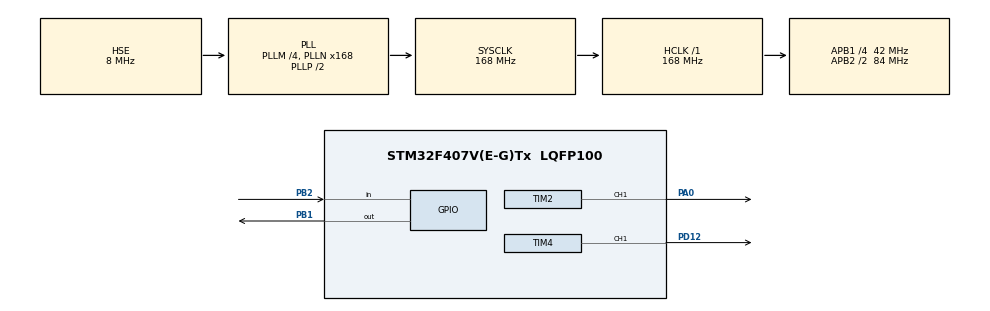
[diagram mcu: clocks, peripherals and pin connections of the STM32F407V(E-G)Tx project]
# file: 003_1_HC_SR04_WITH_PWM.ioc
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Mcu.Family=STM32F4
Mcu.Name=STM32F407V(E-G)Tx
Mcu.Package=LQFP100
NVIC.PriorityGroup=NVIC_PRIORITYGROUP_4
PA0-WKUP.Signal=S_TIM2_CH1_ETR
PB1.GPIO_Speed=GPIO_SPEED_FREQ_MEDIUM
PB1.Signal=GPIO_Output
PB2.GPIO_PuPd=GPIO_PULLDOWN
PB2.Signal=GPIO_Input
PD12.Signal=S_TIM4_CH1
PH0-OSC_IN.Mode=HSE-External-Oscillator
PH0-OSC_IN.Signal=RCC_OSC_IN
PH1-OSC_OUT.Mode=HSE-External-Oscillator
PH1-OSC_OUT.Signal=RCC_OSC_OUT
ProjectManager.HeapSize=0x200
ProjectManager.StackSize=0x400
ProjectManager.TargetToolchain=STM32CubeIDE
RCC.48MHZClocksFreq_Value=84000000
RCC.AHBFreq_Value=168000000
RCC.APB1CLKDivider=RCC_HCLK_DIV4
RCC.APB1Freq_Value=42000000
RCC.APB1TimFreq_Value=84000000
RCC.APB2CLKDivider=RCC_HCLK_DIV2
RCC.APB2Freq_Value=84000000
RCC.APB2TimFreq_Value=168000000
RCC.CortexFreq_Value=168000000
RCC.HCLKFreq_Value=168000000
RCC.HSE_VALUE=8000000
RCC.HSI_VALUE=16000000
RCC.LSE_VALUE=32768
RCC.PLLM=4
RCC.PLLN=168
RCC.PLLSourceVirtual=RCC_PLLSOURCE_HSE
RCC.SYSCLKFreq_VALUE=168000000
RCC.SYSCLKSource=RCC_SYSCLKSOURCE_PLLCLK
RCC.VCOOutputFreq_Value=336000000
SH.S_TIM2_CH1_ETR.0=TIM2_CH1,PWM Generation1 CH1
SH.S_TIM4_CH1.0=TIM4_CH1,PWM Generation1 CH1
TIM1.Period=65535
TIM1.Prescaler=167
TIM2.Channel-PWM\ Generation1\ CH1=TIM_CHANNEL_1
TIM2.Period=999
TIM2.Prescaler=41999
TIM4.Channel-PWM\ Generation1\ CH1=TIM_CHANNEL_1
TIM4.Period=999
TIM4.Prescaler=41999
VP_TIM1_VS_ClockSourceINT.Mode=Internal
VP_TIM2_VS_ClockSourceINT.Mode=Internal
VP_TIM4_VS_ClockSourceINT.Mode=Internal
board=custom

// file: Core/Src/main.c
/* USER CODE BEGIN Header */
/**
  ******************************************************************************
  * @file           : main.c
  * @brief          : Main program body
  ******************************************************************************
  * @attention
  *
  * <h2><center>&copy; Copyright (c) 2022 STMicroelectronics.
  * All rights reserved.</center></h2>
  *
  * This software component is licensed by ST under BSD 3-Clause license,
  * the "License"; You may not use this file except in compliance with the
  * License. You may obtain a copy of the License at:
  *                        opensource.org/licenses/BSD-3-Clause
  *
  ******************************************************************************
  */
/* USER CODE END Header */
#include "main.h"

TIM_HandleTypeDef htim1;
TIM_HandleTypeDef htim2;
TIM_HandleTypeDef htim4;

/* USER CODE BEGIN PV */
uint16_t distance;
uint32_t period;
uint32_t dutyTIM4;

/* USER CODE END PV */

void SystemClock_Config(void);
static void MX_GPIO_Init(void);
static void MX_TIM1_Init(void);
static void MX_TIM2_Init(void);
static void MX_TIM4_Init(void);
/* USER CODE BEGIN PFP */

void usDelay(uint32_t uS);
uint16_t readHCSR04();
void buzzer(uint32_t duty);
void PWM_period(uint32_t ARR);

/* USER CODE END PFP */

int main(void)
{

  /* MCU Configuration--------------------------------------------------------*/

  /* Reset of all peripherals, Initializes the Flash interface and the Systick. */
  HAL_Init();

  /* Configure the system clock */
  SystemClock_Config();

  /* Initialize all configured peripherals */
  MX_GPIO_Init();
  MX_TIM1_Init();
  MX_TIM2_Init();
  MX_TIM4_Init();
  /* USER CODE BEGIN 2 */
  HAL_TIM_Base_Start(&htim1);
	HAL_TIM_PWM_Start(&htim4, TIM_CHANNEL_1);
  /* USER CODE END 2 */

  /* Infinite loop */
  while (1)
  {

    /* USER CODE BEGIN 3 */
	  distance = readHCSR04();
	  if(distance < 100 && distance > 80)
	  {
		  PWM_period(1000);
		  buzzer(1000/2);
	  }
	  else if(distance <= 80 && distance > 60)
	  {
		  PWM_period(800);
		  buzzer(800/2);
	  }
	  else if(distance <= 60 && distance > 40)
	  {
		  PWM_period(600);
		  buzzer(600/2);
	  }
	  else if(distance <= 40 && distance > 20)
	  {
		  PWM_period(400);
		  buzzer(400/2);
	  }
	  else if(distance <= 20 && distance > 10)
	  {
		  PWM_period(200);
		  buzzer(200/2);
	  }
	  else if(distance <= 10)
	  {
		  PWM_period(100);
		  buzzer(100/2);
	  }
	  else
	  {
		  PWM_period(1999);
		  buzzer(1999/2);
	  }

  }
  /* USER CODE END 3 */
}

void SystemClock_Config(void)
{
  RCC_OscInitTypeDef RCC_OscInitStruct = {0};
  RCC_ClkInitTypeDef RCC_ClkInitStruct = {0};

  /** Configure the main internal regulator output voltage
  */
  __HAL_RCC_PWR_CLK_ENABLE();
  __HAL_PWR_VOLTAGESCALING_CONFIG(PWR_REGULATOR_VOLTAGE_SCALE1);
  /** Initializes the RCC Oscillators according to the specified parameters
  * in the RCC_OscInitTypeDef structure.
  */
  RCC_OscInitStruct.OscillatorType = RCC_OSCILLATORTYPE_HSE;
  RCC_OscInitStruct.HSEState = RCC_HSE_ON;
  RCC_OscInitStruct.PLL.PLLState = RCC_PLL_ON;
  RCC_OscInitStruct.PLL.PLLSource = RCC_PLLSOURCE_HSE;
  RCC_OscInitStruct.PLL.PLLM = 4;
  RCC_OscInitStruct.PLL.PLLN = 168;
  RCC_OscInitStruct.PLL.PLLP = RCC_PLLP_DIV2;
  RCC_OscInitStruct.PLL.PLLQ = 4;
  if (HAL_RCC_OscConfig(&RCC_OscInitStruct) != HAL_OK)
  {
    Error_Handler();
  }
  /** Initializes the CPU, AHB and APB buses clocks
  */
  RCC_ClkInitStruct.ClockType = RCC_CLOCKTYPE_HCLK|RCC_CLOCKTYPE_SYSCLK
                              |RCC_CLOCKTYPE_PCLK1|RCC_CLOCKTYPE_PCLK2;
  RCC_ClkInitStruct.SYSCLKSource = RCC_SYSCLKSOURCE_PLLCLK;
  RCC_ClkInitStruct.AHBCLKDivider = RCC_SYSCLK_DIV1;
  RCC_ClkInitStruct.APB1CLKDivider = RCC_HCLK_DIV4;
  RCC_ClkInitStruct.APB2CLKDivider = RCC_HCLK_DIV2;

  if (HAL_RCC_ClockConfig(&RCC_ClkInitStruct, FLASH_LATENCY_5) != HAL_OK)
  {
    Error_Handler();
  }
}

static void MX_TIM1_Init(void)
{

  TIM_ClockConfigTypeDef sClockSourceConfig = {0};
  TIM_MasterConfigTypeDef sMasterConfig = {0};

  htim1.Instance = TIM1;
  htim1.Init.Prescaler = 167;
  htim1.Init.CounterMode = TIM_COUNTERMODE_UP;
  htim1.Init.Period = 65535;
  htim1.Init.ClockDivision = TIM_CLOCKDIVISION_DIV1;
  htim1.Init.RepetitionCounter = 0;
  htim1.Init.AutoReloadPreload = TIM_AUTORELOAD_PRELOAD_DISABLE;
  if (HAL_TIM_Base_Init(&htim1) != HAL_OK)
  {
    Error_Handler();
  }
  sClockSourceConfig.ClockSource = TIM_CLOCKSOURCE_INTERNAL;
  if (HAL_TIM_ConfigClockSource(&htim1, &sClockSourceConfig) != HAL_OK)
  {
    Error_Handler();
  }
  sMasterConfig.MasterOutputTrigger = TIM_TRGO_RESET;
  sMasterConfig.MasterSlaveMode = TIM_MASTERSLAVEMODE_DISABLE;
  if (HAL_TIMEx_MasterConfigSynchronization(&htim1, &sMasterConfig) != HAL_OK)
  {
    Error_Handler();
  }

}

static void MX_TIM2_Init(void)
{

  TIM_ClockConfigTypeDef sClockSourceConfig = {0};
  TIM_MasterConfigTypeDef sMasterConfig = {0};
  TIM_OC_InitTypeDef sConfigOC = {0};

  htim2.Instance = TIM2;
  htim2.Init.Prescaler = 41999;
  htim2.Init.CounterMode = TIM_COUNTERMODE_UP;
  htim2.Init.Period = 999;
  htim2.Init.ClockDivision = TIM_CLOCKDIVISION_DIV1;
  htim2.Init.AutoReloadPreload = TIM_AUTORELOAD_PRELOAD_DISABLE;
  if (HAL_TIM_Base_Init(&htim2) != HAL_OK)
  {
    Error_Handler();
  }
  sClockSourceConfig.ClockSource = TIM_CLOCKSOURCE_INTERNAL;
  if (HAL_TIM_ConfigClockSource(&htim2, &sClockSourceConfig) != HAL_OK)
  {
    Error_Handler();
  }
  if (HAL_TIM_PWM_Init(&htim2) != HAL_OK)
  {
    Error_Handler();
  }
  sMasterConfig.MasterOutputTrigger = TIM_TRGO_RESET;
  sMasterConfig.MasterSlaveMode = TIM_MASTERSLAVEMODE_DISABLE;
  if (HAL_TIMEx_MasterConfigSynchronization(&htim2, &sMasterConfig) != HAL_OK)
  {
    Error_Handler();
  }
  sConfigOC.OCMode = TIM_OCMODE_PWM1;
  sConfigOC.Pulse = 0;
  sConfigOC.OCPolarity = TIM_OCPOLARITY_HIGH;
  sConfigOC.OCFastMode = TIM_OCFAST_DISABLE;
  if (HAL_TIM_PWM_ConfigChannel(&htim2, &sConfigOC, TIM_CHANNEL_1) != HAL_OK)
  {
    Error_Handler();
  }
  HAL_TIM_MspPostInit(&htim2);

}

static void MX_TIM4_Init(void)
{

  TIM_ClockConfigTypeDef sClockSourceConfig = {0};
  TIM_MasterConfigTypeDef sMasterConfig = {0};
  TIM_OC_InitTypeDef sConfigOC = {0};

  htim4.Instance = TIM4;
  htim4.Init.Prescaler = 41999;
  htim4.Init.CounterMode = TIM_COUNTERMODE_UP;
  htim4.Init.Period = 999;
  htim4.Init.ClockDivision = TIM_CLOCKDIVISION_DIV1;
  htim4.Init.AutoReloadPreload = TIM_AUTORELOAD_PRELOAD_DISABLE;
  if (HAL_TIM_Base_Init(&htim4) != HAL_OK)
  {
    Error_Handler();
  }
  sClockSourceConfig.ClockSource = TIM_CLOCKSOURCE_INTERNAL;
  if (HAL_TIM_ConfigClockSource(&htim4, &sClockSourceConfig) != HAL_OK)
  {
    Error_Handler();
  }
  if (HAL_TIM_PWM_Init(&htim4) != HAL_OK)
  {
    Error_Handler();
  }
  sMasterConfig.MasterOutputTrigger = TIM_TRGO_RESET;
  sMasterConfig.MasterSlaveMode = TIM_MASTERSLAVEMODE_DISABLE;
  if (HAL_TIMEx_MasterConfigSynchronization(&htim4, &sMasterConfig) != HAL_OK)
  {
    Error_Handler();
  }
  sConfigOC.OCMode = TIM_OCMODE_PWM1;
  sConfigOC.Pulse = 0;
  sConfigOC.OCPolarity = TIM_OCPOLARITY_HIGH;
  sConfigOC.OCFastMode = TIM_OCFAST_DISABLE;
  if (HAL_TIM_PWM_ConfigChannel(&htim4, &sConfigOC, TIM_CHANNEL_1) != HAL_OK)
  {
    Error_Handler();
  }
  HAL_TIM_MspPostInit(&htim4);

}

static void MX_GPIO_Init(void)
{
  GPIO_InitTypeDef GPIO_InitStruct = {0};

  /* GPIO Ports Clock Enable */
  __HAL_RCC_GPIOH_CLK_ENABLE();
  __HAL_RCC_GPIOA_CLK_ENABLE();
  __HAL_RCC_GPIOB_CLK_ENABLE();
  __HAL_RCC_GPIOD_CLK_ENABLE();

  /*Configure GPIO pin Output Level */
  HAL_GPIO_WritePin(GPIOB, GPIO_PIN_1, GPIO_PIN_RESET);

  /*Configure GPIO pin : PB1 */
  GPIO_InitStruct.Pin = GPIO_PIN_1;
  GPIO_InitStruct.Mode = GPIO_MODE_OUTPUT_PP;
  GPIO_InitStruct.Pull = GPIO_NOPULL;
  GPIO_InitStruct.Speed = GPIO_SPEED_FREQ_MEDIUM;
  HAL_GPIO_Init(GPIOB, &GPIO_InitStruct);

  /*Configure GPIO pin : PB2 */
  GPIO_InitStruct.Pin = GPIO_PIN_2;
  GPIO_InitStruct.Mode = GPIO_MODE_INPUT;
  GPIO_InitStruct.Pull = GPIO_PULLDOWN;
  HAL_GPIO_Init(GPIOB, &GPIO_InitStruct);

}

/* USER CODE BEGIN 4 */
void usDelay(uint32_t uS)
{

	__HAL_TIM_SET_COUNTER(&htim1,0);
	while((__HAL_TIM_GET_COUNTER(&htim1))<uS);

}

uint16_t readHCSR04()
{
	uint16_t count = 0;
	HAL_GPIO_WritePin(GPIOB, GPIO_PIN_1, GPIO_PIN_SET);
	usDelay(100);
	HAL_GPIO_WritePin(GPIOB, GPIO_PIN_1, GPIO_PIN_RESET);

	while(HAL_GPIO_ReadPin(GPIOB, GPIO_PIN_2)!= GPIO_PIN_SET);
	while(HAL_GPIO_ReadPin(GPIOB, GPIO_PIN_2))
	{
		if(count > 400*58)
			break;
		usDelay(1);
		count++;
	}

	count = count/58;

	if(count == 0 || count > 450)
		return 0;

	return count;

}

void buzzer(uint32_t duty)
{

	dutyTIM4 = duty;

	__HAL_TIM_SET_COMPARE(&htim4,TIM_CHANNEL_1,duty);

}
void PWM_period(uint32_t ARR)
{
	TIM4->ARR = ARR;

}
/* USER CODE END 4 */

void Error_Handler(void)
{
  __disable_irq();
  while (1)
  {
  }
}

/************************ (C) COPYRIGHT STMicroelectronics *****END OF FILE****/
